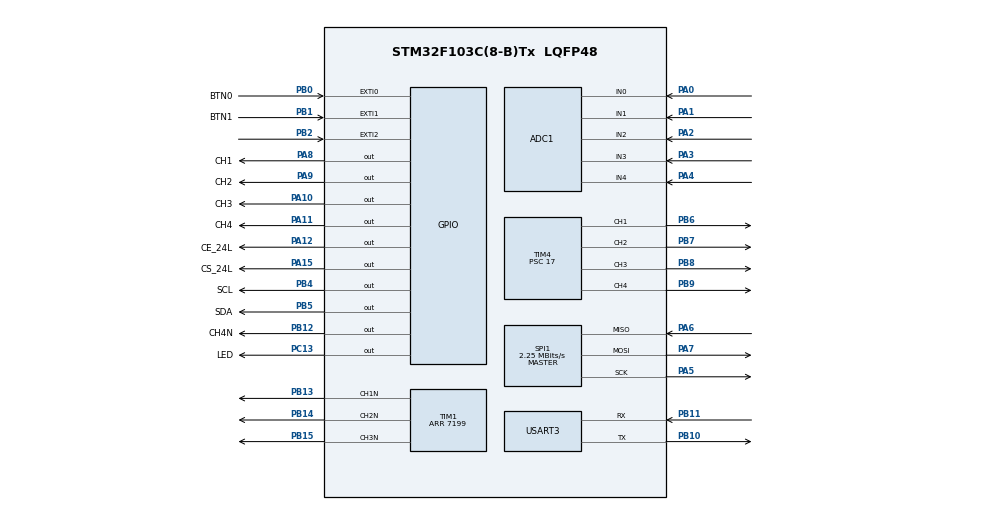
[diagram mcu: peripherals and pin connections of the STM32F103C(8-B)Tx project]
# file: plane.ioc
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ADC1.Channel-0\#ChannelRegularConversion=ADC_CHANNEL_0
ADC1.NbrOfConversionFlag=1
ADC1.Rank-0\#ChannelRegularConversion=1
ADC1.SamplingTime-0\#ChannelRegularConversion=ADC_SAMPLETIME_1CYCLE_5
ADC1.master=1
Mcu.Family=STM32F1
Mcu.Name=STM32F103C(8-B)Tx
Mcu.Package=LQFP48
NVIC.PriorityGroup=NVIC_PRIORITYGROUP_4
PA0-WKUP.Signal=ADCx_IN0
PA1.Signal=ADCx_IN1
PA10.GPIO_Label=CH3
PA10.Signal=GPIO_Output
PA11.GPIO_Label=CH4
PA11.Signal=GPIO_Output
PA12.GPIO_Label=CE_24L
PA12.GPIO_Speed=GPIO_SPEED_FREQ_HIGH
PA12.Signal=GPIO_Output
PA13.Mode=Trace_Asynchronous_SW
PA13.Signal=SYS_JTMS-SWDIO
PA14.Mode=Trace_Asynchronous_SW
PA14.Signal=SYS_JTCK-SWCLK
PA15.GPIO_Label=CS_24L
PA15.GPIO_Speed=GPIO_SPEED_FREQ_HIGH
PA15.Signal=GPIO_Output
PA2.Signal=ADCx_IN2
PA3.Signal=ADCx_IN3
PA4.Signal=ADCx_IN4
PA5.Mode=Full_Duplex_Master
PA5.Signal=SPI1_SCK
PA6.Mode=Full_Duplex_Master
PA6.Signal=SPI1_MISO
PA7.Mode=Full_Duplex_Master
PA7.Signal=SPI1_MOSI
PA8.GPIO_Label=CH1
PA8.Signal=GPIO_Output
PA9.GPIO_Label=CH2
PA9.Signal=GPIO_Output
PB0.GPIO_Label=BTN0
PB0.GPIO_PuPd=GPIO_PULLUP
PB0.Signal=GPXTI0
PB1.GPIO_Label=BTN1
PB1.GPIO_PuPd=GPIO_PULLUP
PB1.Signal=GPXTI1
PB10.Mode=Asynchronous
PB10.Signal=USART3_TX
PB11.Mode=Asynchronous
PB11.Signal=USART3_RX
PB12.GPIO_Label=CH4N
PB12.Signal=GPIO_Output
PB13.Mode=PWM Generation1 CH1N
PB13.Signal=TIM1_CH1N
PB14.Mode=PWM Generation2 CH2N
PB14.Signal=TIM1_CH2N
PB15.Mode=PWM Generation3 CH3N
PB15.Signal=TIM1_CH3N
PB2.GPIO_PuPd=GPIO_PULLUP
PB2.Signal=GPXTI2
PB3.Mode=Trace_Asynchronous_SW
PB3.Signal=SYS_JTDO-TRACESWO
PB4.GPIO_Label=SCL
PB4.GPIO_Speed=GPIO_SPEED_FREQ_HIGH
PB4.Signal=GPIO_Output
PB5.GPIO_Label=SDA
PB5.GPIO_Speed=GPIO_SPEED_FREQ_HIGH
PB5.Signal=GPIO_Output
PB6.Signal=S_TIM4_CH1
PB7.Signal=S_TIM4_CH2
PB8.Signal=S_TIM4_CH3
PB9.Signal=S_TIM4_CH4
PC13-TAMPER-RTC.GPIO_Label=LED
PC13-TAMPER-RTC.GPIO_Speed=GPIO_SPEED_FREQ_HIGH
PC13-TAMPER-RTC.PinState=GPIO_PIN_SET
PC13-TAMPER-RTC.Signal=GPIO_Output
PC14-OSC32_IN.Mode=LSE-External-Oscillator
PC14-OSC32_IN.Signal=RCC_OSC32_IN
PC15-OSC32_OUT.Mode=LSE-External-Oscillator
PC15-OSC32_OUT.Signal=RCC_OSC32_OUT
PD0-OSC_IN.Mode=HSE-External-Oscillator
PD0-OSC_IN.Signal=RCC_OSC_IN
PD1-OSC_OUT.Mode=HSE-External-Oscillator
PD1-OSC_OUT.Signal=RCC_OSC_OUT
ProjectManager.HeapSize=0x200
ProjectManager.StackSize=0x400
ProjectManager.TargetToolchain=Makefile
RCC.ADCPresc=RCC_ADCPCLK2_DIV6
RCC.AHBFreq_Value=72000000
RCC.APB1CLKDivider=RCC_HCLK_DIV2
RCC.APB1Freq_Value=36000000
RCC.APB1TimFreq_Value=72000000
RCC.APB2Freq_Value=72000000
RCC.APB2TimFreq_Value=72000000
RCC.HCLKFreq_Value=72000000
RCC.PLLMUL=RCC_PLL_MUL9
RCC.PLLSourceVirtual=RCC_PLLSOURCE_HSE
RCC.SYSCLKFreq_VALUE=72000000
RCC.SYSCLKSource=RCC_SYSCLKSOURCE_PLLCLK
RCC.USBFreq_Value=72000000
SH.ADCx_IN0.0=ADC1_IN0,IN0
SH.ADCx_IN1.0=ADC1_IN1,IN1
SH.ADCx_IN2.0=ADC1_IN2,IN2
SH.ADCx_IN3.0=ADC1_IN3,IN3
SH.ADCx_IN4.0=ADC1_IN4,IN4
SH.S_TIM4_CH1.0=TIM4_CH1,PWM Generation1 CH1
SH.S_TIM4_CH2.0=TIM4_CH2,PWM Generation2 CH2
SH.S_TIM4_CH3.0=TIM4_CH3,PWM Generation3 CH3
SH.S_TIM4_CH4.0=TIM4_CH4,PWM Generation4 CH4
SPI1.BaudRatePrescaler=SPI_BAUDRATEPRESCALER_32
SPI1.CalculateBaudRate=2.25 MBits/s
SPI1.Direction=SPI_DIRECTION_2LINES
SPI1.Mode=SPI_MODE_MASTER
SPI1.VirtualType=VM_MASTER
TIM1.Channel-PWM\ Generation1\ CH1N=TIM_CHANNEL_1
TIM1.Channel-PWM\ Generation2\ CH2N=TIM_CHANNEL_2
TIM1.Channel-PWM\ Generation3\ CH3N=TIM_CHANNEL_3
TIM1.OCNIdleState_1=TIM_OCNIDLESTATE_SET
TIM1.OCNIdleState_2=TIM_OCNIDLESTATE_SET
TIM1.OCNIdleState_3=TIM_OCNIDLESTATE_SET
TIM1.Period=7199
TIM3.Period=71
TIM4.Channel-PWM\ Generation1\ CH1=TIM_CHANNEL_1
TIM4.Channel-PWM\ Generation2\ CH2=TIM_CHANNEL_2
TIM4.Channel-PWM\ Generation3\ CH3=TIM_CHANNEL_3
TIM4.Channel-PWM\ Generation4\ CH4=TIM_CHANNEL_4
TIM4.OCMode_PWM-PWM\ Generation1\ CH1=TIM_OCMODE_PWM2
TIM4.OCMode_PWM-PWM\ Generation2\ CH2=TIM_OCMODE_PWM2
TIM4.OCMode_PWM-PWM\ Generation3\ CH3=TIM_OCMODE_PWM2
TIM4.OCMode_PWM-PWM\ Generation4\ CH4=TIM_OCMODE_PWM2
TIM4.OCPolarity_1=TIM_OCPOLARITY_LOW
TIM4.OCPolarity_2=TIM_OCPOLARITY_LOW
TIM4.OCPolarity_3=TIM_OCPOLARITY_LOW
TIM4.OCPolarity_4=TIM_OCPOLARITY_LOW
TIM4.Prescaler=17
TIM4.Pulse-PWM\ Generation1\ CH1=4096
TIM4.Pulse-PWM\ Generation2\ CH2=4096
TIM4.Pulse-PWM\ Generation3\ CH3=4096
TIM4.Pulse-PWM\ Generation4\ CH4=4096
USART3.VirtualMode=VM_ASYNC
VP_TIM1_VS_ClockSourceINT.Mode=Internal
VP_TIM3_VS_ClockSourceINT.Mode=Internal
VP_TIM3_VS_OPM.Mode=OPM_bit
VP_TIM4_VS_ClockSourceINT.Mode=Internal
board=custom

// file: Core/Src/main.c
/* USER CODE BEGIN Header */
/**
  ******************************************************************************
  * @file           : main.c
  * @brief          : Main program body
  ******************************************************************************
  * @attention
  *
  * <h2><center>&copy; Copyright (c) 2021 STMicroelectronics.
  * All rights reserved.</center></h2>
  *
  * This software component is licensed by ST under BSD 3-Clause license,
  * the "License"; You may not use this file except in compliance with the
  * License. You may obtain a copy of the License at:
  *                        opensource.org/licenses/BSD-3-Clause
  *
  ******************************************************************************
  */
/* USER CODE END Header */
#include "main.h"

/* USER CODE BEGIN Includes */

#include "oled.h"
#include "ctrl.h"
#include "nrf24l01.h"
#include "millis.h"
#include "string.h"
#include "stdlib.h"
#include "stdio.h"

/* USER CODE END Includes */

void SystemClock_Config(void);
static void MX_GPIO_Init(void);
static void MX_ADC1_Init(void);
static void MX_SPI1_Init(void);
static void MX_TIM1_Init(void);
static void MX_TIM4_Init(void);
static void MX_USART3_UART_Init(void);
static void MX_TIM3_Init(void);

int main(void)
{

  /* MCU Configuration--------------------------------------------------------*/

  /* Reset of all peripherals, Initializes the Flash interface and the Systick. */

  LL_APB2_GRP1_EnableClock(LL_APB2_GRP1_PERIPH_AFIO);
  LL_APB1_GRP1_EnableClock(LL_APB1_GRP1_PERIPH_PWR);

  NVIC_SetPriorityGrouping(NVIC_PRIORITYGROUP_4);

  /* System interrupt init*/

  /** NOJTAG: JTAG-DP Disabled and SW-DP Enabled
  */
  LL_GPIO_AF_Remap_SWJ_NOJTAG();

  /* Configure the system clock */
  SystemClock_Config();

  /* USER CODE BEGIN SysInit */
  LL_mDelay(100);

  /* USER CODE END SysInit */

  /* Initialize all configured peripherals */
  MX_GPIO_Init();
  MX_ADC1_Init();
  MX_SPI1_Init();
  MX_TIM1_Init();
  MX_TIM4_Init();
  MX_USART3_UART_Init();
  MX_TIM3_Init();
  /* USER CODE BEGIN 2 */
  MillisInit(0);

  OLED_Init();
  OLED_Clear(0x00);

  OLED_ShowString(0, 0, "FC & bldcDrv :", 0);
  ctrl_init();

  nrfInitRecieve();

  /* USER CODE END 2 */

  /* Infinite loop */
  /* USER CODE BEGIN WHILE */
  char timeBuff[16];
  while (1)
  {
    LL_GPIO_TogglePin(CH1_GPIO_Port,CH1_Pin);
//    sprintf(timeBuff, "%ld", MillisGet() / 1000);
//    OLED_ShowString(90, 0, timeBuff, 0);
    /* USER CODE END WHILE */

  }
}

void SystemClock_Config(void)
{
  LL_FLASH_SetLatency(LL_FLASH_LATENCY_2);
  while(LL_FLASH_GetLatency()!= LL_FLASH_LATENCY_2)
  {
  }
  LL_RCC_HSE_Enable();

   /* Wait till HSE is ready */
  while(LL_RCC_HSE_IsReady() != 1)
  {

  }
  LL_RCC_PLL_ConfigDomain_SYS(LL_RCC_PLLSOURCE_HSE_DIV_1, LL_RCC_PLL_MUL_9);
  LL_RCC_PLL_Enable();

   /* Wait till PLL is ready */
  while(LL_RCC_PLL_IsReady() != 1)
  {

  }
  LL_RCC_SetAHBPrescaler(LL_RCC_SYSCLK_DIV_1);
  LL_RCC_SetAPB1Prescaler(LL_RCC_APB1_DIV_2);
  LL_RCC_SetAPB2Prescaler(LL_RCC_APB2_DIV_1);
  LL_RCC_SetSysClkSource(LL_RCC_SYS_CLKSOURCE_PLL);

   /* Wait till System clock is ready */
  while(LL_RCC_GetSysClkSource() != LL_RCC_SYS_CLKSOURCE_STATUS_PLL)
  {

  }
  LL_Init1msTick(72000000);
  LL_SetSystemCoreClock(72000000);
  LL_RCC_SetADCClockSource(LL_RCC_ADC_CLKSRC_PCLK2_DIV_6);
}

static void MX_ADC1_Init(void)
{

  LL_ADC_InitTypeDef ADC_InitStruct = {0};
  LL_ADC_CommonInitTypeDef ADC_CommonInitStruct = {0};
  LL_ADC_REG_InitTypeDef ADC_REG_InitStruct = {0};

  LL_GPIO_InitTypeDef GPIO_InitStruct = {0};

  /* Peripheral clock enable */
  LL_APB2_GRP1_EnableClock(LL_APB2_GRP1_PERIPH_ADC1);

  LL_APB2_GRP1_EnableClock(LL_APB2_GRP1_PERIPH_GPIOA);
  /**ADC1 GPIO Configuration
  PA0-WKUP   ------> ADC1_IN0
  PA1   ------> ADC1_IN1
  PA2   ------> ADC1_IN2
  PA3   ------> ADC1_IN3
  PA4   ------> ADC1_IN4
  */
  GPIO_InitStruct.Pin = LL_GPIO_PIN_0|LL_GPIO_PIN_1|LL_GPIO_PIN_2|LL_GPIO_PIN_3
                          |LL_GPIO_PIN_4;
  GPIO_InitStruct.Mode = LL_GPIO_MODE_ANALOG;
  LL_GPIO_Init(GPIOA, &GPIO_InitStruct);

  /** Common config
  */
  ADC_InitStruct.DataAlignment = LL_ADC_DATA_ALIGN_RIGHT;
  ADC_InitStruct.SequencersScanMode = LL_ADC_SEQ_SCAN_DISABLE;
  LL_ADC_Init(ADC1, &ADC_InitStruct);
  ADC_CommonInitStruct.Multimode = LL_ADC_MULTI_INDEPENDENT;
  LL_ADC_CommonInit(__LL_ADC_COMMON_INSTANCE(ADC1), &ADC_CommonInitStruct);
  ADC_REG_InitStruct.TriggerSource = LL_ADC_REG_TRIG_SOFTWARE;
  ADC_REG_InitStruct.SequencerLength = LL_ADC_REG_SEQ_SCAN_DISABLE;
  ADC_REG_InitStruct.SequencerDiscont = LL_ADC_REG_SEQ_DISCONT_DISABLE;
  ADC_REG_InitStruct.ContinuousMode = LL_ADC_REG_CONV_SINGLE;
  ADC_REG_InitStruct.DMATransfer = LL_ADC_REG_DMA_TRANSFER_NONE;
  LL_ADC_REG_Init(ADC1, &ADC_REG_InitStruct);
  /** Configure Regular Channel
  */
  LL_ADC_REG_SetSequencerRanks(ADC1, LL_ADC_REG_RANK_1, LL_ADC_CHANNEL_0);
  LL_ADC_SetChannelSamplingTime(ADC1, LL_ADC_CHANNEL_0, LL_ADC_SAMPLINGTIME_1CYCLE_5);

}

static void MX_SPI1_Init(void)
{

  LL_SPI_InitTypeDef SPI_InitStruct = {0};

  LL_GPIO_InitTypeDef GPIO_InitStruct = {0};

  /* Peripheral clock enable */
  LL_APB2_GRP1_EnableClock(LL_APB2_GRP1_PERIPH_SPI1);

  LL_APB2_GRP1_EnableClock(LL_APB2_GRP1_PERIPH_GPIOA);
  /**SPI1 GPIO Configuration
  PA5   ------> SPI1_SCK
  PA6   ------> SPI1_MISO
  PA7   ------> SPI1_MOSI
  */
  GPIO_InitStruct.Pin = LL_GPIO_PIN_5|LL_GPIO_PIN_7;
  GPIO_InitStruct.Mode = LL_GPIO_MODE_ALTERNATE;
  GPIO_InitStruct.Speed = LL_GPIO_SPEED_FREQ_HIGH;
  GPIO_InitStruct.OutputType = LL_GPIO_OUTPUT_PUSHPULL;
  LL_GPIO_Init(GPIOA, &GPIO_InitStruct);

  GPIO_InitStruct.Pin = LL_GPIO_PIN_6;
  GPIO_InitStruct.Mode = LL_GPIO_MODE_FLOATING;
  LL_GPIO_Init(GPIOA, &GPIO_InitStruct);

  /* SPI1 parameter configuration*/
  SPI_InitStruct.TransferDirection = LL_SPI_FULL_DUPLEX;
  SPI_InitStruct.Mode = LL_SPI_MODE_MASTER;
  SPI_InitStruct.DataWidth = LL_SPI_DATAWIDTH_8BIT;
  SPI_InitStruct.ClockPolarity = LL_SPI_POLARITY_LOW;
  SPI_InitStruct.ClockPhase = LL_SPI_PHASE_1EDGE;
  SPI_InitStruct.NSS = LL_SPI_NSS_SOFT;
  SPI_InitStruct.BaudRate = LL_SPI_BAUDRATEPRESCALER_DIV32;
  SPI_InitStruct.BitOrder = LL_SPI_MSB_FIRST;
  SPI_InitStruct.CRCCalculation = LL_SPI_CRCCALCULATION_DISABLE;
  SPI_InitStruct.CRCPoly = 10;
  LL_SPI_Init(SPI1, &SPI_InitStruct);

}

static void MX_TIM1_Init(void)
{

  LL_TIM_InitTypeDef TIM_InitStruct = {0};
  LL_TIM_OC_InitTypeDef TIM_OC_InitStruct = {0};
  LL_TIM_BDTR_InitTypeDef TIM_BDTRInitStruct = {0};

  LL_GPIO_InitTypeDef GPIO_InitStruct = {0};

  /* Peripheral clock enable */
  LL_APB2_GRP1_EnableClock(LL_APB2_GRP1_PERIPH_TIM1);

  TIM_InitStruct.Prescaler = 0;
  TIM_InitStruct.CounterMode = LL_TIM_COUNTERMODE_UP;
  TIM_InitStruct.Autoreload = 7199;
  TIM_InitStruct.ClockDivision = LL_TIM_CLOCKDIVISION_DIV1;
  TIM_InitStruct.RepetitionCounter = 0;
  LL_TIM_Init(TIM1, &TIM_InitStruct);
  LL_TIM_DisableARRPreload(TIM1);
  LL_TIM_SetClockSource(TIM1, LL_TIM_CLOCKSOURCE_INTERNAL);
  LL_TIM_OC_EnablePreload(TIM1, LL_TIM_CHANNEL_CH1);
  TIM_OC_InitStruct.OCMode = LL_TIM_OCMODE_PWM1;
  TIM_OC_InitStruct.OCState = LL_TIM_OCSTATE_DISABLE;
  TIM_OC_InitStruct.OCNState = LL_TIM_OCSTATE_DISABLE;
  TIM_OC_InitStruct.CompareValue = 0;
  TIM_OC_InitStruct.OCPolarity = LL_TIM_OCPOLARITY_HIGH;
  TIM_OC_InitStruct.OCNPolarity = LL_TIM_OCPOLARITY_HIGH;
  TIM_OC_InitStruct.OCIdleState = LL_TIM_OCIDLESTATE_LOW;
  TIM_OC_InitStruct.OCNIdleState = LL_TIM_OCIDLESTATE_HIGH;
  LL_TIM_OC_Init(TIM1, LL_TIM_CHANNEL_CH1, &TIM_OC_InitStruct);
  LL_TIM_OC_DisableFast(TIM1, LL_TIM_CHANNEL_CH1);
  LL_TIM_OC_EnablePreload(TIM1, LL_TIM_CHANNEL_CH2);
  LL_TIM_OC_Init(TIM1, LL_TIM_CHANNEL_CH2, &TIM_OC_InitStruct);
  LL_TIM_OC_DisableFast(TIM1, LL_TIM_CHANNEL_CH2);
  LL_TIM_OC_EnablePreload(TIM1, LL_TIM_CHANNEL_CH3);
  LL_TIM_OC_Init(TIM1, LL_TIM_CHANNEL_CH3, &TIM_OC_InitStruct);
  LL_TIM_OC_DisableFast(TIM1, LL_TIM_CHANNEL_CH3);
  LL_TIM_SetTriggerOutput(TIM1, LL_TIM_TRGO_RESET);
  LL_TIM_DisableMasterSlaveMode(TIM1);
  TIM_BDTRInitStruct.OSSRState = LL_TIM_OSSR_DISABLE;
  TIM_BDTRInitStruct.OSSIState = LL_TIM_OSSI_DISABLE;
  TIM_BDTRInitStruct.LockLevel = LL_TIM_LOCKLEVEL_OFF;
  TIM_BDTRInitStruct.DeadTime = 0;
  TIM_BDTRInitStruct.BreakState = LL_TIM_BREAK_DISABLE;
  TIM_BDTRInitStruct.BreakPolarity = LL_TIM_BREAK_POLARITY_HIGH;
  TIM_BDTRInitStruct.AutomaticOutput = LL_TIM_AUTOMATICOUTPUT_DISABLE;
  LL_TIM_BDTR_Init(TIM1, &TIM_BDTRInitStruct);
  LL_APB2_GRP1_EnableClock(LL_APB2_GRP1_PERIPH_GPIOB);
  /**TIM1 GPIO Configuration
  PB13   ------> TIM1_CH1N
  PB14   ------> TIM1_CH2N
  PB15   ------> TIM1_CH3N
  */
  GPIO_InitStruct.Pin = LL_GPIO_PIN_13|LL_GPIO_PIN_14|LL_GPIO_PIN_15;
  GPIO_InitStruct.Mode = LL_GPIO_MODE_ALTERNATE;
  GPIO_InitStruct.Speed = LL_GPIO_SPEED_FREQ_LOW;
  GPIO_InitStruct.OutputType = LL_GPIO_OUTPUT_PUSHPULL;
  LL_GPIO_Init(GPIOB, &GPIO_InitStruct);

}

static void MX_TIM3_Init(void)
{

  LL_TIM_InitTypeDef TIM_InitStruct = {0};

  /* Peripheral clock enable */
  LL_APB1_GRP1_EnableClock(LL_APB1_GRP1_PERIPH_TIM3);

  TIM_InitStruct.Prescaler = 0;
  TIM_InitStruct.CounterMode = LL_TIM_COUNTERMODE_UP;
  TIM_InitStruct.Autoreload = 71;
  TIM_InitStruct.ClockDivision = LL_TIM_CLOCKDIVISION_DIV1;
  LL_TIM_Init(TIM3, &TIM_InitStruct);
  LL_TIM_DisableARRPreload(TIM3);
  LL_TIM_SetClockSource(TIM3, LL_TIM_CLOCKSOURCE_INTERNAL);
  LL_TIM_SetOnePulseMode(TIM3, LL_TIM_ONEPULSEMODE_SINGLE);
  LL_TIM_SetTriggerOutput(TIM3, LL_TIM_TRGO_RESET);
  LL_TIM_DisableMasterSlaveMode(TIM3);

}

static void MX_TIM4_Init(void)
{

  LL_TIM_InitTypeDef TIM_InitStruct = {0};
  LL_TIM_OC_InitTypeDef TIM_OC_InitStruct = {0};

  LL_GPIO_InitTypeDef GPIO_InitStruct = {0};

  /* Peripheral clock enable */
  LL_APB1_GRP1_EnableClock(LL_APB1_GRP1_PERIPH_TIM4);

  TIM_InitStruct.Prescaler = 17;
  TIM_InitStruct.CounterMode = LL_TIM_COUNTERMODE_UP;
  TIM_InitStruct.Autoreload = 65535;
  TIM_InitStruct.ClockDivision = LL_TIM_CLOCKDIVISION_DIV1;
  LL_TIM_Init(TIM4, &TIM_InitStruct);
  LL_TIM_DisableARRPreload(TIM4);
  LL_TIM_SetClockSource(TIM4, LL_TIM_CLOCKSOURCE_INTERNAL);
  LL_TIM_OC_EnablePreload(TIM4, LL_TIM_CHANNEL_CH1);
  TIM_OC_InitStruct.OCMode = LL_TIM_OCMODE_PWM2;
  TIM_OC_InitStruct.OCState = LL_TIM_OCSTATE_DISABLE;
  TIM_OC_InitStruct.OCNState = LL_TIM_OCSTATE_DISABLE;
  TIM_OC_InitStruct.CompareValue = 4096;
  TIM_OC_InitStruct.OCPolarity = LL_TIM_OCPOLARITY_LOW;
  LL_TIM_OC_Init(TIM4, LL_TIM_CHANNEL_CH1, &TIM_OC_InitStruct);
  LL_TIM_OC_DisableFast(TIM4, LL_TIM_CHANNEL_CH1);
  LL_TIM_OC_EnablePreload(TIM4, LL_TIM_CHANNEL_CH2);
  LL_TIM_OC_Init(TIM4, LL_TIM_CHANNEL_CH2, &TIM_OC_InitStruct);
  LL_TIM_OC_DisableFast(TIM4, LL_TIM_CHANNEL_CH2);
  LL_TIM_OC_EnablePreload(TIM4, LL_TIM_CHANNEL_CH3);
  LL_TIM_OC_Init(TIM4, LL_TIM_CHANNEL_CH3, &TIM_OC_InitStruct);
  LL_TIM_OC_DisableFast(TIM4, LL_TIM_CHANNEL_CH3);
  LL_TIM_OC_EnablePreload(TIM4, LL_TIM_CHANNEL_CH4);
  LL_TIM_OC_Init(TIM4, LL_TIM_CHANNEL_CH4, &TIM_OC_InitStruct);
  LL_TIM_OC_DisableFast(TIM4, LL_TIM_CHANNEL_CH4);
  LL_TIM_SetTriggerOutput(TIM4, LL_TIM_TRGO_RESET);
  LL_TIM_DisableMasterSlaveMode(TIM4);
  LL_APB2_GRP1_EnableClock(LL_APB2_GRP1_PERIPH_GPIOB);
  /**TIM4 GPIO Configuration
  PB6   ------> TIM4_CH1
  PB7   ------> TIM4_CH2
  PB8   ------> TIM4_CH3
  PB9   ------> TIM4_CH4
  */
  GPIO_InitStruct.Pin = LL_GPIO_PIN_6|LL_GPIO_PIN_7|LL_GPIO_PIN_8|LL_GPIO_PIN_9;
  GPIO_InitStruct.Mode = LL_GPIO_MODE_ALTERNATE;
  GPIO_InitStruct.Speed = LL_GPIO_SPEED_FREQ_LOW;
  GPIO_InitStruct.OutputType = LL_GPIO_OUTPUT_PUSHPULL;
  LL_GPIO_Init(GPIOB, &GPIO_InitStruct);

}

static void MX_USART3_UART_Init(void)
{

  LL_USART_InitTypeDef USART_InitStruct = {0};

  LL_GPIO_InitTypeDef GPIO_InitStruct = {0};

  /* Peripheral clock enable */
  LL_APB1_GRP1_EnableClock(LL_APB1_GRP1_PERIPH_USART3);

  LL_APB2_GRP1_EnableClock(LL_APB2_GRP1_PERIPH_GPIOB);
  /**USART3 GPIO Configuration
  PB10   ------> USART3_TX
  PB11   ------> USART3_RX
  */
  GPIO_InitStruct.Pin = LL_GPIO_PIN_10;
  GPIO_InitStruct.Mode = LL_GPIO_MODE_ALTERNATE;
  GPIO_InitStruct.Speed = LL_GPIO_SPEED_FREQ_HIGH;
  GPIO_InitStruct.OutputType = LL_GPIO_OUTPUT_PUSHPULL;
  LL_GPIO_Init(GPIOB, &GPIO_InitStruct);

  GPIO_InitStruct.Pin = LL_GPIO_PIN_11;
  GPIO_InitStruct.Mode = LL_GPIO_MODE_FLOATING;
  LL_GPIO_Init(GPIOB, &GPIO_InitStruct);

  USART_InitStruct.BaudRate = 115200;
  USART_InitStruct.DataWidth = LL_USART_DATAWIDTH_8B;
  USART_InitStruct.StopBits = LL_USART_STOPBITS_1;
  USART_InitStruct.Parity = LL_USART_PARITY_NONE;
  USART_InitStruct.TransferDirection = LL_USART_DIRECTION_TX_RX;
  USART_InitStruct.HardwareFlowControl = LL_USART_HWCONTROL_NONE;
  USART_InitStruct.OverSampling = LL_USART_OVERSAMPLING_16;
  LL_USART_Init(USART3, &USART_InitStruct);
  LL_USART_ConfigAsyncMode(USART3);
  LL_USART_Enable(USART3);

}

static void MX_GPIO_Init(void)
{
  LL_EXTI_InitTypeDef EXTI_InitStruct = {0};
  LL_GPIO_InitTypeDef GPIO_InitStruct = {0};

  /* GPIO Ports Clock Enable */
  LL_APB2_GRP1_EnableClock(LL_APB2_GRP1_PERIPH_GPIOC);
  LL_APB2_GRP1_EnableClock(LL_APB2_GRP1_PERIPH_GPIOD);
  LL_APB2_GRP1_EnableClock(LL_APB2_GRP1_PERIPH_GPIOA);
  LL_APB2_GRP1_EnableClock(LL_APB2_GRP1_PERIPH_GPIOB);

  /**/
  LL_GPIO_SetOutputPin(LED_GPIO_Port, LED_Pin);

  /**/
  LL_GPIO_ResetOutputPin(GPIOB, CH4N_Pin|SCL_Pin|SDA_Pin);

  /**/
  LL_GPIO_ResetOutputPin(GPIOA, CH1_Pin|CH2_Pin|CH3_Pin|CH4_Pin
                          |CE_24L_Pin|CS_24L_Pin);

  /**/
  GPIO_InitStruct.Pin = LED_Pin;
  GPIO_InitStruct.Mode = LL_GPIO_MODE_OUTPUT;
  GPIO_InitStruct.Speed = LL_GPIO_SPEED_FREQ_HIGH;
  GPIO_InitStruct.OutputType = LL_GPIO_OUTPUT_PUSHPULL;
  LL_GPIO_Init(LED_GPIO_Port, &GPIO_InitStruct);

  /**/
  GPIO_InitStruct.Pin = CH4N_Pin;
  GPIO_InitStruct.Mode = LL_GPIO_MODE_OUTPUT;
  GPIO_InitStruct.Speed = LL_GPIO_SPEED_FREQ_LOW;
  GPIO_InitStruct.OutputType = LL_GPIO_OUTPUT_PUSHPULL;
  LL_GPIO_Init(CH4N_GPIO_Port, &GPIO_InitStruct);

  /**/
  GPIO_InitStruct.Pin = CH1_Pin|CH2_Pin|CH3_Pin|CH4_Pin;
  GPIO_InitStruct.Mode = LL_GPIO_MODE_OUTPUT;
  GPIO_InitStruct.Speed = LL_GPIO_SPEED_FREQ_LOW;
  GPIO_InitStruct.OutputType = LL_GPIO_OUTPUT_PUSHPULL;
  LL_GPIO_Init(GPIOA, &GPIO_InitStruct);

  /**/
  GPIO_InitStruct.Pin = CE_24L_Pin|CS_24L_Pin;
  GPIO_InitStruct.Mode = LL_GPIO_MODE_OUTPUT;
  GPIO_InitStruct.Speed = LL_GPIO_SPEED_FREQ_HIGH;
  GPIO_InitStruct.OutputType = LL_GPIO_OUTPUT_PUSHPULL;
  LL_GPIO_Init(GPIOA, &GPIO_InitStruct);

  /**/
  GPIO_InitStruct.Pin = SCL_Pin|SDA_Pin;
  GPIO_InitStruct.Mode = LL_GPIO_MODE_OUTPUT;
  GPIO_InitStruct.Speed = LL_GPIO_SPEED_FREQ_HIGH;
  GPIO_InitStruct.OutputType = LL_GPIO_OUTPUT_PUSHPULL;
  LL_GPIO_Init(GPIOB, &GPIO_InitStruct);

  /**/
  LL_GPIO_AF_SetEXTISource(LL_GPIO_AF_EXTI_PORTB, LL_GPIO_AF_EXTI_LINE0);

  /**/
  LL_GPIO_AF_SetEXTISource(LL_GPIO_AF_EXTI_PORTB, LL_GPIO_AF_EXTI_LINE1);

  /**/
  LL_GPIO_AF_SetEXTISource(LL_GPIO_AF_EXTI_PORTB, LL_GPIO_AF_EXTI_LINE2);

  /**/
  EXTI_InitStruct.Line_0_31 = LL_EXTI_LINE_0;
  EXTI_InitStruct.LineCommand = ENABLE;
  EXTI_InitStruct.Mode = LL_EXTI_MODE_IT;
  EXTI_InitStruct.Trigger = LL_EXTI_TRIGGER_RISING;
  LL_EXTI_Init(&EXTI_InitStruct);

  /**/
  EXTI_InitStruct.Line_0_31 = LL_EXTI_LINE_1;
  EXTI_InitStruct.LineCommand = ENABLE;
  EXTI_InitStruct.Mode = LL_EXTI_MODE_IT;
  EXTI_InitStruct.Trigger = LL_EXTI_TRIGGER_RISING;
  LL_EXTI_Init(&EXTI_InitStruct);

  /**/
  EXTI_InitStruct.Line_0_31 = LL_EXTI_LINE_2;
  EXTI_InitStruct.LineCommand = ENABLE;
  EXTI_InitStruct.Mode = LL_EXTI_MODE_IT;
  EXTI_InitStruct.Trigger = LL_EXTI_TRIGGER_RISING;
  LL_EXTI_Init(&EXTI_InitStruct);

  /**/
  LL_GPIO_SetPinPull(BTN0_GPIO_Port, BTN0_Pin, LL_GPIO_PULL_UP);

  /**/
  LL_GPIO_SetPinPull(BTN1_GPIO_Port, BTN1_Pin, LL_GPIO_PULL_UP);

  /**/
  LL_GPIO_SetPinPull(GPIOB, LL_GPIO_PIN_2, LL_GPIO_PULL_UP);

  /**/
  LL_GPIO_SetPinMode(BTN0_GPIO_Port, BTN0_Pin, LL_GPIO_MODE_INPUT);

  /**/
  LL_GPIO_SetPinMode(BTN1_GPIO_Port, BTN1_Pin, LL_GPIO_MODE_INPUT);

  /**/
  LL_GPIO_SetPinMode(GPIOB, LL_GPIO_PIN_2, LL_GPIO_MODE_INPUT);

}

void Error_Handler(void)
{
  __disable_irq();
  while (1)
  {
  }
}

/************************ (C) COPYRIGHT STMicroelectronics *****END OF FILE****/
